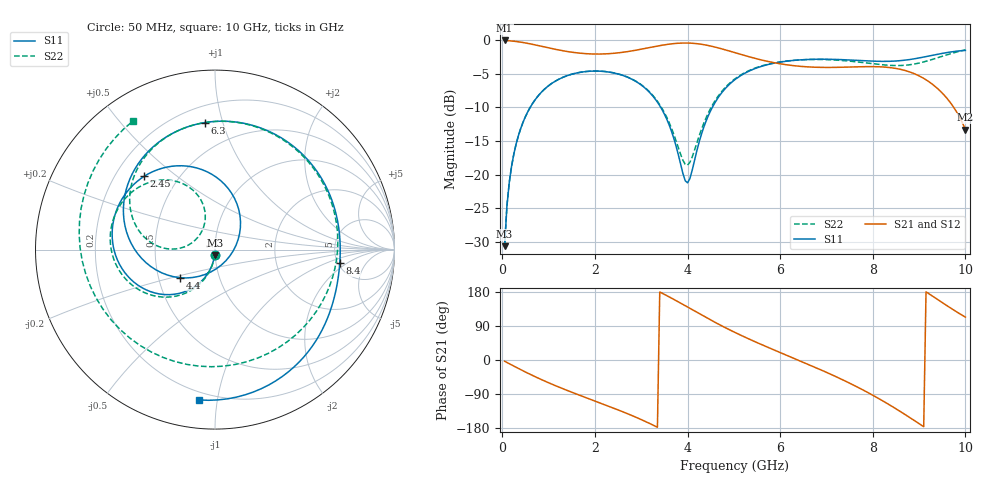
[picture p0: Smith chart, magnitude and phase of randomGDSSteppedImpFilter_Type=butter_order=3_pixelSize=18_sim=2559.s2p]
! freq	dB(S11)	phase(S11)	dB(S12)	phase(S12)
!  dB(S21)	phase(S21)	dB(S22)	phase(S22)
!S-par simulation data
#  GHz  S  DB  R 50
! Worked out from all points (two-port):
!   200 points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, 50 MHz to 10 GHz, reference 50 ohm
!   highest |S21| = -0.01 dB at 50 MHz (marker M1); lowest = -13.3 dB at 10 GHz (marker M2)
!   |S21| within 3 dB of the highest: start of sweep to 5.652 GHz
!   lowest |S11| = -30.7 dB at 50 MHz (marker M3), VSWR 1.06, Z = 49.7 - j2.91 ohm
!   |S11| at or under -10 dB: start of sweep to 601.1 MHz; 3.422 GHz to 4.534 GHz (1.112 GHz wide, 28 % of centre)
!   |S22| runs from -30.7 to -1.4 dB; largest |S21 - S12| = 0
!   S11 on the Smith chart (normalised r, x): 50 MHz: 0.99, -0.06; 2.45 GHz: 0.32, +0.39; 4.4 GHz: 0.64, -0.22; 6.3 GHz: 0.31, +0.87; 8.4 GHz: 5.17, -1.55; 10 GHz: 0.15, -0.89
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0.05  -30.67 -93.5  -0.01 -3.3  -0.01 -3.3  -30.67 -93.3
0.1  -24.69 -97.0  -0.03 -6.6  -0.03 -6.6  -24.68 -96.6
0.2  -18.78 -103.9  -0.08 -13.0  -0.08 -13.0  -18.78 -103.1
0.5  -11.36 -123.2  -0.38 -31.7  -0.38 -31.7  -11.36 -121.2
1.05  -6.50 -155.3  -1.19 -62.7  -1.19 -62.7  -6.50 -151.0
1.75  -4.69 168.9  -1.95 -96.7  -1.95 -96.7  -4.68 176.8
2.45  -4.92 133.9  -1.90 -129.2  -1.90 -129.2  -4.90 147.4
2.95  -6.40 105.5  -1.38 -154.5  -1.38 -154.5  -6.36 126.1
3.4  -9.74 73.3  -0.78 179.5  -0.78 179.5  -9.59 108.6
4  -21.23 -46.0  -0.39 139.8  -0.39 139.8  -18.59 144.8
4.4  -12.03 -141.3  -0.70 112.3  -0.70 112.3  -11.55 179.0
5.05  -5.71 165.3  -1.88 71.2  -1.88 71.2  -5.60 154.0
5.6  -3.86 131.9  -2.92 40.6  -2.92 40.6  -3.80 127.7
6.3  -2.98 94.7  -3.77 4.4  -3.77 4.4  -2.96 93.6
6.7  -2.82 74.4  -3.98 -16.4  -3.98 -16.4  -2.84 72.7
7.65  -2.97 27.9  -3.94 -70.3  -3.94 -70.3  -3.20 11.9
8.35  -3.12 -4.0  -4.04 -117.5  -4.04 -117.5  -3.71 -52.1
8.4  -3.11 -6.3  -4.08 -121.2  -4.08 -121.2  -3.73 -57.5
8.85  -2.80 -26.8  -4.83 -155.9  -4.83 -155.9  -3.58 -109.7
9.35  -2.13 -53.1  -6.88 163.6  -6.88 163.6  -2.70 -169.4
9.65  -1.76 -71.5  -9.04 139.5  -9.04 139.5  -2.05 157.5
10  -1.49 -96.2  -13.31 113.3  -13.31 113.3  -1.41 122.4
